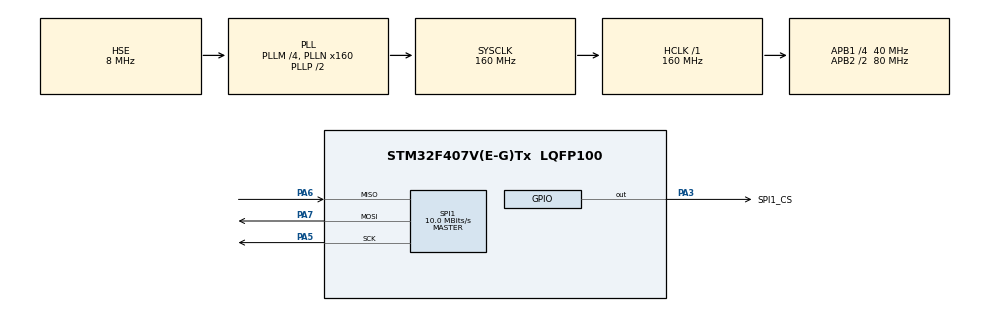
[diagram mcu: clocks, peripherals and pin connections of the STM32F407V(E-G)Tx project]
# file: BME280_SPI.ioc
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Mcu.Family=STM32F4
Mcu.Name=STM32F407V(E-G)Tx
Mcu.Package=LQFP100
NVIC.PriorityGroup=NVIC_PRIORITYGROUP_4
PA3.GPIO_Label=SPI1_CS
PA3.Signal=GPIO_Output
PA5.Mode=Full_Duplex_Master
PA5.Signal=SPI1_SCK
PA6.Mode=Full_Duplex_Master
PA6.Signal=SPI1_MISO
PA7.Mode=Full_Duplex_Master
PA7.Signal=SPI1_MOSI
PH0-OSC_IN.Mode=HSE-External-Clock-Source
PH0-OSC_IN.Signal=RCC_OSC_IN
PH1-OSC_OUT.Mode=HSE-External-Clock-Source
PH1-OSC_OUT.Signal=RCC_OSC_OUT
ProjectManager.HeapSize=0x200
ProjectManager.StackSize=0x400
ProjectManager.TargetToolchain=TrueSTUDIO
RCC.48MHZClocksFreq_Value=80000000
RCC.AHBFreq_Value=160000000
RCC.APB1CLKDivider=RCC_HCLK_DIV4
RCC.APB1Freq_Value=40000000
RCC.APB1TimFreq_Value=80000000
RCC.APB2CLKDivider=RCC_HCLK_DIV2
RCC.APB2Freq_Value=80000000
RCC.APB2TimFreq_Value=160000000
RCC.CortexFreq_Value=160000000
RCC.HCLKFreq_Value=160000000
RCC.HSE_VALUE=8000000
RCC.HSI_VALUE=16000000
RCC.LSE_VALUE=32768
RCC.PLLM=4
RCC.PLLN=160
RCC.PLLSourceVirtual=RCC_PLLSOURCE_HSE
RCC.SYSCLKFreq_VALUE=160000000
RCC.SYSCLKSource=RCC_SYSCLKSOURCE_PLLCLK
RCC.VCOOutputFreq_Value=320000000
SPI1.BaudRatePrescaler=SPI_BAUDRATEPRESCALER_8
SPI1.CalculateBaudRate=10.0 MBits/s
SPI1.Direction=SPI_DIRECTION_2LINES
SPI1.Mode=SPI_MODE_MASTER
SPI1.VirtualType=VM_MASTER
board=custom

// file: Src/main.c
/* USER CODE BEGIN Header */
/**
  ******************************************************************************
  * @file           : main.c
  * @brief          : Main program body
  ******************************************************************************
  * @attention
  *
  * <h2><center>&copy; Copyright (c) 2020 STMicroelectronics.
  * All rights reserved.</center></h2>
  *
  * This software component is licensed by ST under BSD 3-Clause license,
  * the "License"; You may not use this file except in compliance with the
  * License. You may obtain a copy of the License at:
  *                        opensource.org/licenses/BSD-3-Clause
  *
  ******************************************************************************
  */
/* USER CODE END Header */

#include "main.h"

SPI_HandleTypeDef hspi1;

/* USER CODE BEGIN PV */
BME280_t BME280;
/* USER CODE END PV */

void SystemClock_Config(void);
static void MX_GPIO_Init(void);
static void MX_SPI1_Init(void);
/* USER CODE BEGIN PFP */
void BME280_Handler();
/* USER CODE END PFP */

int main(void)
{

  /* MCU Configuration--------------------------------------------------------*/

  /* Reset of all peripherals, Initializes the Flash interface and the Systick. */
  HAL_Init();

  /* Configure the system clock */
  SystemClock_Config();

  /* Initialize all configured peripherals */
  MX_GPIO_Init();
  MX_SPI1_Init();
  /* USER CODE BEGIN 2 */
  HAL_GPIO_WritePin(SPI1_CS_GPIO_Port, SPI1_CS_Pin, GPIO_PIN_SET); //SPI CS UP
  HAL_GPIO_WritePin(GPIOA, GPIO_PIN_6, GPIO_PIN_RESET); //SPI CS UP
  /* USER CODE END 2 */

  /* Infinite loop */
  /* USER CODE BEGIN WHILE */
  while (1)
  {
	  HAL_Delay(100);
	  BME280_Handler();
    /* USER CODE END WHILE */

  }
}

void SystemClock_Config(void)
{
  RCC_OscInitTypeDef RCC_OscInitStruct = {0};
  RCC_ClkInitTypeDef RCC_ClkInitStruct = {0};

  /** Configure the main internal regulator output voltage
  */
  __HAL_RCC_PWR_CLK_ENABLE();
  __HAL_PWR_VOLTAGESCALING_CONFIG(PWR_REGULATOR_VOLTAGE_SCALE1);
  /** Initializes the CPU, AHB and APB busses clocks
  */
  RCC_OscInitStruct.OscillatorType = RCC_OSCILLATORTYPE_HSE;
  RCC_OscInitStruct.HSEState = RCC_HSE_BYPASS;
  RCC_OscInitStruct.PLL.PLLState = RCC_PLL_ON;
  RCC_OscInitStruct.PLL.PLLSource = RCC_PLLSOURCE_HSE;
  RCC_OscInitStruct.PLL.PLLM = 4;
  RCC_OscInitStruct.PLL.PLLN = 160;
  RCC_OscInitStruct.PLL.PLLP = RCC_PLLP_DIV2;
  RCC_OscInitStruct.PLL.PLLQ = 4;
  if (HAL_RCC_OscConfig(&RCC_OscInitStruct) != HAL_OK)
  {
    Error_Handler();
  }
  /** Initializes the CPU, AHB and APB busses clocks
  */
  RCC_ClkInitStruct.ClockType = RCC_CLOCKTYPE_HCLK|RCC_CLOCKTYPE_SYSCLK
                              |RCC_CLOCKTYPE_PCLK1|RCC_CLOCKTYPE_PCLK2;
  RCC_ClkInitStruct.SYSCLKSource = RCC_SYSCLKSOURCE_PLLCLK;
  RCC_ClkInitStruct.AHBCLKDivider = RCC_SYSCLK_DIV1;
  RCC_ClkInitStruct.APB1CLKDivider = RCC_HCLK_DIV4;
  RCC_ClkInitStruct.APB2CLKDivider = RCC_HCLK_DIV2;

  if (HAL_RCC_ClockConfig(&RCC_ClkInitStruct, FLASH_LATENCY_5) != HAL_OK)
  {
    Error_Handler();
  }
}

static void MX_SPI1_Init(void)
{

  /* SPI1 parameter configuration*/
  hspi1.Instance = SPI1;
  hspi1.Init.Mode = SPI_MODE_MASTER;
  hspi1.Init.Direction = SPI_DIRECTION_2LINES;
  hspi1.Init.DataSize = SPI_DATASIZE_8BIT;
  hspi1.Init.CLKPolarity = SPI_POLARITY_LOW;
  hspi1.Init.CLKPhase = SPI_PHASE_1EDGE;
  hspi1.Init.NSS = SPI_NSS_SOFT;
  hspi1.Init.BaudRatePrescaler = SPI_BAUDRATEPRESCALER_8;
  hspi1.Init.FirstBit = SPI_FIRSTBIT_MSB;
  hspi1.Init.TIMode = SPI_TIMODE_DISABLE;
  hspi1.Init.CRCCalculation = SPI_CRCCALCULATION_DISABLE;
  hspi1.Init.CRCPolynomial = 10;
  if (HAL_SPI_Init(&hspi1) != HAL_OK)
  {
    Error_Handler();
  }

}

static void MX_GPIO_Init(void)
{
  GPIO_InitTypeDef GPIO_InitStruct = {0};

  /* GPIO Ports Clock Enable */
  __HAL_RCC_GPIOH_CLK_ENABLE();
  __HAL_RCC_GPIOA_CLK_ENABLE();

  /*Configure GPIO pin Output Level */
  HAL_GPIO_WritePin(SPI1_CS_GPIO_Port, SPI1_CS_Pin, GPIO_PIN_RESET);

  /*Configure GPIO pin : SPI1_CS_Pin */
  GPIO_InitStruct.Pin = SPI1_CS_Pin;
  GPIO_InitStruct.Mode = GPIO_MODE_OUTPUT_PP;
  GPIO_InitStruct.Pull = GPIO_NOPULL;
  GPIO_InitStruct.Speed = GPIO_SPEED_FREQ_LOW;
  HAL_GPIO_Init(SPI1_CS_GPIO_Port, &GPIO_InitStruct);

}

/* USER CODE BEGIN 4 */

/*
 *
 */
void BME280_Handler()
{
	static uint8_t ms = 0;

	BME280.statusBME = BME280_ERROR;

	switch (ms)
	{
	case 0:
		BME280.statusBME = BME280_Initial(BME280_STANDBY_MS_10,
											 BME280_FILTER_X8,
											 BME280_TEMP_OVERSAMPLING_X8,
											 BME280_PRES_OVERSAMPLING_X8,
											 BME280_HUM_OVERSAMPLING_X8,
											 BME280_MODE_NORMAL, 100);

		if(BME280.statusBME == BME280_OK) {ms = 1;}

	break;

	case 1:
		BME280.temp = BME280_ReadTemperature();
		BME280.pres = BME280_ReadPressure();
		BME280.humi = BME280_ReadHumidity();
	break;
	}
}

/* USER CODE END 4 */

void Error_Handler(void)
{
}

/************************ (C) COPYRIGHT STMicroelectronics *****END OF FILE****/
